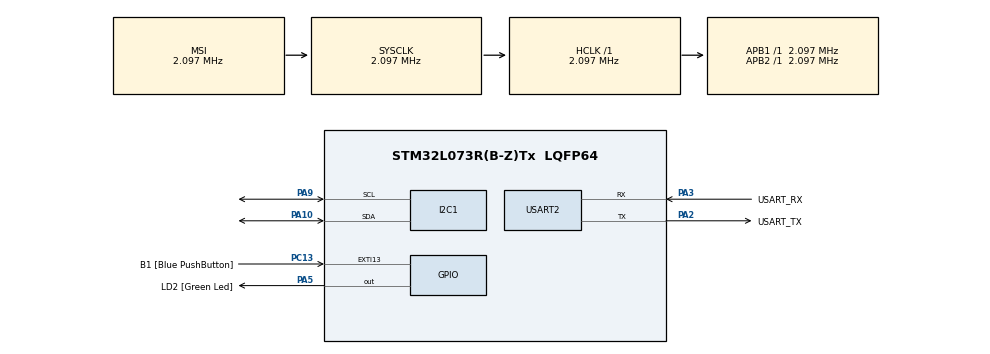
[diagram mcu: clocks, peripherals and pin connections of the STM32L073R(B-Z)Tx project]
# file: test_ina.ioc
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I2C1.Timing=0x00000608
Mcu.Family=STM32L0
Mcu.Name=STM32L073R(B-Z)Tx
Mcu.Package=LQFP64
PA10.Mode=I2C
PA10.Signal=I2C1_SDA
PA13.GPIO_Label=TMS
PA13.Mode=Serial_Wire
PA13.Signal=SYS_SWDIO
PA14.GPIO_Label=TCK
PA14.Mode=Serial_Wire
PA14.Signal=SYS_SWCLK
PA2.GPIO_Label=USART_TX
PA2.Mode=Asynchronous
PA2.Signal=USART2_TX
PA3.GPIO_Label=USART_RX
PA3.Mode=Asynchronous
PA3.Signal=USART2_RX
PA5.GPIO_Label=LD2 [Green Led]
PA5.Signal=GPIO_Output
PA9.Mode=I2C
PA9.Signal=I2C1_SCL
PC13.GPIO_Label=B1 [Blue PushButton]
PC13.GPIO_ModeDefaultEXTI=GPIO_MODE_IT_FALLING
PC13.Signal=GPXTI13
PC14-OSC32_IN.Mode=LSE-External-Oscillator
PC14-OSC32_IN.Signal=RCC_OSC32_IN
PC15-OSC32_OUT.Mode=LSE-External-Oscillator
PC15-OSC32_OUT.Signal=RCC_OSC32_OUT
PH0-OSC_IN.GPIO_Label=MCO
PH0-OSC_IN.Mode=HSE-External-Clock-Source
PH0-OSC_IN.Signal=RCC_OSC_IN
ProjectManager.HeapSize=0x200
ProjectManager.StackSize=0x400
ProjectManager.TargetToolchain=CMake
RCC.AHBFreq_Value=2097000
RCC.APB1Freq_Value=2097000
RCC.APB1TimFreq_Value=2097000
RCC.APB2Freq_Value=2097000
RCC.APB2TimFreq_Value=2097000
RCC.HSE_VALUE=8000000
RCC.HSI16_VALUE=16000000
RCC.HSI48_VALUE=48000000
RCC.HSI_VALUE=16000000
RCC.MSI_VALUE=2097000
RCC.SYSCLKFreq_VALUE=2097000
RCC.VCOOutputFreq_Value=48000000
USART2.VirtualMode-Asynchronous=VM_ASYNC
board=NUCLEO-L073RZ

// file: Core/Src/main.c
/* USER CODE BEGIN Header */
/**
  ******************************************************************************
  * @file           : main.c
  * @brief          : Main program body
  ******************************************************************************
  */
/* USER CODE END Header */
#include "main.h"

/* USER CODE BEGIN Includes */
#include "ina237.h" // Dołączenie nagłówka biblioteki INA237
#include <string.h> // Potrzebne do strlen przy wysyłaniu komunikatów
/* USER CODE END Includes */

I2C_HandleTypeDef hi2c1;

UART_HandleTypeDef huart2;

/* USER CODE BEGIN PV */
INA237_Data ina1;
INA237_Data ina2;
/* USER CODE END PV */

void SystemClock_Config(void);
static void MX_GPIO_Init(void);
static void MX_I2C1_Init(void);
static void MX_USART2_UART_Init(void);

int main(void)
{

  /* MCU Configuration--------------------------------------------------------*/

  /* Reset of all peripherals, Initializes the Flash interface and the Systick. */
  HAL_Init();

  /* Configure the system clock */
  SystemClock_Config();

  /* Initialize all configured peripherals */
  MX_GPIO_Init();
  MX_I2C1_Init();
  MX_USART2_UART_Init();
  /* USER CODE BEGIN 2 */

  // Opcjonalne skanowanie magistrali I2C na starcie (odkomentuj jeśli chcesz testować połączenia)
  INA237_I2C_Scanner();

  // Inicjalizacja pierwszego czujnika (np. pod adresem 0x80)
  if (INA237_InitDevice(INA237_ADDRESS_1) == HAL_OK) {
      char msg[] = "INA237 nr 1 [0x40] zainicjalizowany pomyslnie!\r\n";
      HAL_UART_Transmit(&huart2, (uint8_t*)msg, strlen(msg), HAL_MAX_DELAY);
  } else {
      char msg[] = "Blad inicjalizacji INA237 nr 1 [0x40]!\r\n";
      HAL_UART_Transmit(&huart2, (uint8_t*)msg, strlen(msg), HAL_MAX_DELAY);
  }

  // Inicjalizacja drugiego czujnika (np. pod adresem 0x88)
  if (INA237_InitDevice(INA237_ADDRESS_2) == HAL_OK) {
      char msg[] = "INA237 nr 2 [0x44] zainicjalizowany pomyslnie!\r\n";
      HAL_UART_Transmit(&huart2, (uint8_t*)msg, strlen(msg), HAL_MAX_DELAY);
  } else {
      char msg[] = "Blad inicjalizacji INA237 nr 2 [0x44]!\r\n";
      HAL_UART_Transmit(&huart2, (uint8_t*)msg, strlen(msg), HAL_MAX_DELAY);
  }
  /* USER CODE END 2 */

  /* Infinite loop */
  while (1)
  {

    /* USER CODE BEGIN 3 */
    // Odczyt pierwszego czujnika i zapis do struktury ina1
    INA237_Read_Data(INA237_ADDRESS_1, &ina1);

    // Odczyt drugiego czujnika i zapis do struktury ina2
    INA237_Read_Data(INA237_ADDRESS_2, &ina2);

    // Separator w logach dla czytelności terminala
    char sep[] = "-------------------------------------------\r\n";
    HAL_UART_Transmit(&huart2, (uint8_t*)sep, strlen(sep), HAL_MAX_DELAY);

    HAL_GPIO_TogglePin(LD2_GPIO_Port, LD2_Pin);
    HAL_Delay(1000);
  }
  /* USER CODE END 3 */
}

void SystemClock_Config(void)
{
  RCC_OscInitTypeDef RCC_OscInitStruct = {0};
  RCC_ClkInitTypeDef RCC_ClkInitStruct = {0};
  RCC_PeriphCLKInitTypeDef PeriphClkInit = {0};

  __HAL_PWR_VOLTAGESCALING_CONFIG(PWR_REGULATOR_VOLTAGE_SCALE1);

  RCC_OscInitStruct.OscillatorType = RCC_OSCILLATORTYPE_MSI;
  RCC_OscInitStruct.MSIState = RCC_MSI_ON;
  RCC_OscInitStruct.MSICalibrationValue = 0;
  RCC_OscInitStruct.MSIClockRange = RCC_MSIRANGE_5;
  RCC_OscInitStruct.PLL.PLLState = RCC_PLL_NONE;
  if (HAL_RCC_OscConfig(&RCC_OscInitStruct) != HAL_OK)
  {
    Error_Handler();
  }

  RCC_ClkInitStruct.ClockType = RCC_CLOCKTYPE_HCLK|RCC_CLOCKTYPE_SYSCLK
                              |RCC_CLOCKTYPE_PCLK1|RCC_CLOCKTYPE_PCLK2;
  RCC_ClkInitStruct.SYSCLKSource = RCC_SYSCLKSOURCE_MSI;
  RCC_ClkInitStruct.AHBCLKDivider = RCC_SYSCLK_DIV1;
  RCC_ClkInitStruct.APB1CLKDivider = RCC_HCLK_DIV1;
  RCC_ClkInitStruct.APB2CLKDivider = RCC_HCLK_DIV1;

  if (HAL_RCC_ClockConfig(&RCC_ClkInitStruct, FLASH_LATENCY_0) != HAL_OK)
  {
    Error_Handler();
  }
  PeriphClkInit.PeriphClockSelection = RCC_PERIPHCLK_USART2|RCC_PERIPHCLK_I2C1;
  PeriphClkInit.Usart2ClockSelection = RCC_USART2CLKSOURCE_PCLK1;
  PeriphClkInit.I2c1ClockSelection = RCC_I2C1CLKSOURCE_PCLK1;
  if (HAL_RCCEx_PeriphCLKConfig(&PeriphClkInit) != HAL_OK)
  {
    Error_Handler();
  }
}

static void MX_I2C1_Init(void)
{
  hi2c1.Instance = I2C1;
  hi2c1.Init.Timing = 0x00000608;
  hi2c1.Init.OwnAddress1 = 0;
  hi2c1.Init.AddressingMode = I2C_ADDRESSINGMODE_7BIT;
  hi2c1.Init.DualAddressMode = I2C_DUALADDRESS_DISABLE;
  hi2c1.Init.OwnAddress2 = 0;
  hi2c1.Init.OwnAddress2Masks = I2C_OA2_NOMASK;
  hi2c1.Init.GeneralCallMode = I2C_GENERALCALL_DISABLE;
  hi2c1.Init.NoStretchMode = I2C_NOSTRETCH_DISABLE;
  if (HAL_I2C_Init(&hi2c1) != HAL_OK)
  {
    Error_Handler();
  }
  if (HAL_I2CEx_ConfigAnalogFilter(&hi2c1, I2C_ANALOGFILTER_ENABLE) != HAL_OK)
  {
    Error_Handler();
  }
  if (HAL_I2CEx_ConfigDigitalFilter(&hi2c1, 0) != HAL_OK)
  {
    Error_Handler();
  }
}

static void MX_USART2_UART_Init(void)
{
  huart2.Instance = USART2;
  huart2.Init.BaudRate = 115200;
  huart2.Init.WordLength = UART_WORDLENGTH_8B;
  huart2.Init.StopBits = UART_STOPBITS_1;
  huart2.Init.Parity = UART_PARITY_NONE;
  huart2.Init.Mode = UART_MODE_TX_RX;
  huart2.Init.HwFlowCtl = UART_HWCONTROL_NONE;
  huart2.Init.OverSampling = UART_OVERSAMPLING_16;
  huart2.Init.OneBitSampling = UART_ONE_BIT_SAMPLE_DISABLE;
  huart2.AdvancedInit.AdvFeatureInit = UART_ADVFEATURE_NO_INIT;
  if (HAL_UART_Init(&huart2) != HAL_OK)
  {
    Error_Handler();
  }
}

static void MX_GPIO_Init(void)
{
  GPIO_InitTypeDef GPIO_InitStruct = {0};

  __HAL_RCC_GPIOC_CLK_ENABLE();
  __HAL_RCC_GPIOH_CLK_ENABLE();
  __HAL_RCC_GPIOA_CLK_ENABLE();

  HAL_GPIO_WritePin(LD2_GPIO_Port, LD2_Pin, GPIO_PIN_RESET);

  GPIO_InitStruct.Pin = B1_Pin;
  GPIO_InitStruct.Mode = GPIO_MODE_IT_FALLING;
  GPIO_InitStruct.Pull = GPIO_NOPULL;
  HAL_GPIO_Init(B1_GPIO_Port, &GPIO_InitStruct);

  GPIO_InitStruct.Pin = LD2_Pin;
  GPIO_InitStruct.Mode = GPIO_MODE_OUTPUT_PP;
  GPIO_InitStruct.Pull = GPIO_NOPULL;
  GPIO_InitStruct.Speed = GPIO_SPEED_FREQ_LOW;
  HAL_GPIO_Init(LD2_GPIO_Port, &GPIO_InitStruct);
}

void Error_Handler(void)
{
  __disable_irq();
  while (1)
  {
  }
}
